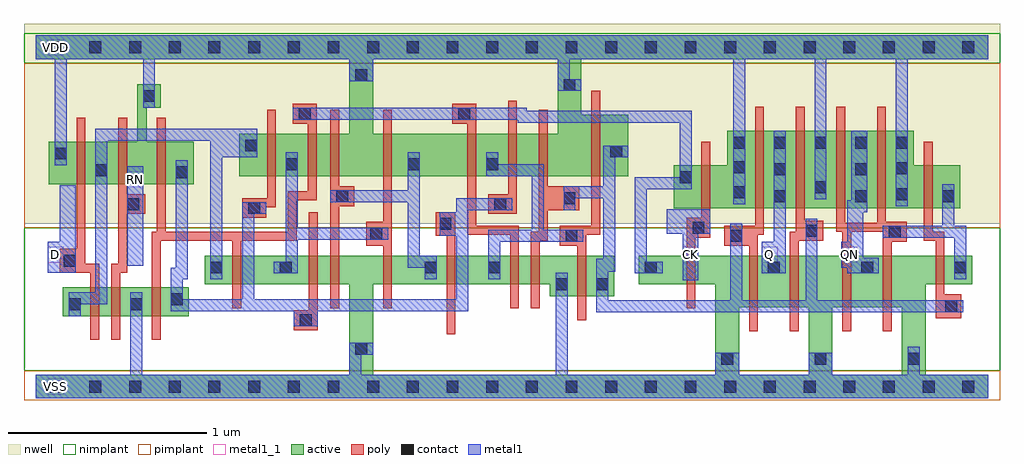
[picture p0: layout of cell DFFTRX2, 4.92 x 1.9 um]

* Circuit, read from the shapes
.subckt DFFTRX2 CK D Q QN RN VDD VSS
M1 n1 D n2 VSS nfet w=0.145u l=0.045u
M2 VSS RN n1 VSS nfet w=0.145u l=0.045u
M3 n3 n4 VSS VSS nfet w=0.145u l=0.045u
M4 n5 n4 n2 VSS nfet w=0.145u l=0.045u
M5 n6 n3 n5 VSS nfet w=0.145u l=0.045u
M6 VSS n7 n6 VSS nfet w=0.145u l=0.045u
M7 n7 n5 VSS VSS nfet w=0.145u l=0.045u
M8 n8 n3 n7 VSS nfet w=0.145u l=0.045u
M9 n9 n4 n8 VSS nfet w=0.145u l=0.045u
M10 VSS n10 n9 VSS nfet w=0.145u l=0.045u
M11 n10 n8 VSS VSS nfet w=0.205u l=0.045u
M12 VSS CK n4 VSS nfet w=0.145u l=0.045u
M13 Q n10 VSS VSS nfet w=0.26u l=0.045u m=2
M14 QN n11 VSS VSS nfet w=0.26u l=0.045u m=2
M15 n11 n10 VSS VSS nfet w=0.145u l=0.045u
M16 n2 D VDD VDD pfet w=0.215u l=0.045u
M17 VDD RN n2 VDD pfet w=0.215u l=0.045u
M18 n3 n4 VDD VDD pfet w=0.215u l=0.045u
M19 n5 n3 n2 VDD pfet w=0.215u l=0.045u
M20 n12 n4 n5 VDD pfet w=0.215u l=0.045u
M21 VDD n7 n12 VDD pfet w=0.215u l=0.045u
M22 n7 n5 VDD VDD pfet w=0.215u l=0.045u
M23 n8 n4 n7 VDD pfet w=0.215u l=0.045u
M24 n13 n3 n8 VDD pfet w=0.215u l=0.045u
M25 VDD n10 n13 VDD pfet w=0.215u l=0.045u
M26 n10 n8 VDD VDD pfet w=0.31u l=0.045u
M27 VDD CK n4 VDD pfet w=0.215u l=0.045u
M28 Q n10 VDD VDD pfet w=0.39u l=0.045u m=2
M29 QN n11 VDD VDD pfet w=0.39u l=0.045u m=2
M30 n11 n10 VDD VDD pfet w=0.215u l=0.045u
.ends

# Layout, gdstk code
import gdstk
lib = gdstk.Library(unit=1e-6, precision=5e-10)
def R(c, l, rs):  # rectangles x0, y0, x1, y1
    for r in rs: c.add(gdstk.rectangle(r[:2], r[2:], *l))
def A(c, l, x, y, w, h, nx, ny, dx, dy):  # array of equal rectangles
    R(c, l, [(x+i*dx, y+j*dy, x+i*dx+w, y+j*dy+h) for i in range(nx) for j in range(ny)])
def P(c, l, *ps):  # polygons
    for p in ps: c.add(gdstk.Polygon(p, *l))
active = (1, 0)
nwell = (2, 0)
poly = (3, 0)
nimplant = (4, 0)
pimplant = (5, 0)
contact = (6, 0)
metal1 = (7, 0)
metal1_1 = (7, 1)

dfftrx2 = lib.new_cell('DFFTRX2')
R(dfftrx2, active, [(0.135,0.355,0.77,0.5)])
P(dfftrx2, active, [(0,1.77),(4.8,1.77),(4.8,1.65),(2.75,1.65),(2.75,1.37),(2.985,1.37),(2.985,1.06),(1.025,1.06),(1.025,1.275),(1.58,1.275),(1.58,1.65),(1.7,1.65),(1.7,1.275),(2.63,1.275),(2.63,1.65),(0,1.65)],
  [(0.51,1.525),(0.63,1.525),(0.63,1.405),(0.56,1.405),(0.56,1.235),(0.795,1.235),(0.795,1.02),(0.065,1.02),(0.065,1.235),(0.51,1.235)],
  [(3.485,1.29),(4.425,1.29),(4.425,1.115),(4.66,1.115),(4.66,0.9),(3.215,0.9),(3.215,1.115),(3.485,1.115)],
  [(0.85,0.66),(2.915,0.66),(2.915,0.455),(2.59,0.455),(2.59,0.515),(1.7,0.515),(1.7,0.06),(3.425,0.06),(3.425,0.4),(3.545,0.4),(3.545,0.06),(3.895,0.06),(3.895,0.4),(4.015,0.4),(4.015,0.06),(4.365,0.06),(4.365,0.4),(3.425,0.4),(3.425,0.515),(3.04,0.515),(3.04,0.66),(4.72,0.66),(4.72,0.515),(4.485,0.515),(4.485,0.06),(4.8,0.06),(4.8,-0.06),(0,-0.06),(0,0.06),(1.58,0.06),(1.58,0.515),(0.85,0.515)])
R(dfftrx2, nwell, [(-0.06,0.82,4.86,1.83)])
P(dfftrx2, poly, [(0.61,1.355),(0.655,1.355),(0.655,0.78),(1.27,0.78),(1.27,0.985),(1.37,0.985),(1.37,1.325),(1.295,1.325),(1.295,1.425),(1.415,1.425),(1.415,0.94),(1.315,0.94),(1.315,0.735),(1.035,0.735),(1.035,0.395),(0.99,0.395),(0.99,0.735),(0.63,0.735),(0.63,0.235),(0.585,0.235),(0.585,0.78),(0.61,0.78)],
  [(0.205,1.355),(0.25,1.355),(0.25,0.62),(0.32,0.62),(0.32,0.235),(0.275,0.235),(0.275,0.575),(0.12,0.575),(0.12,0.695),(0.205,0.695)],
  [(0.415,1.355),(0.46,1.355),(0.46,0.97),(0.55,0.97),(0.55,0.87),(0.46,0.87),(0.46,0.575),(0.425,0.575),(0.425,0.235),(0.38,0.235),(0.38,0.62),(0.415,0.62)],
  [(1.165,1.395),(1.21,1.395),(1.21,0.905),(1.16,0.905),(1.16,0.85),(1.04,0.85),(1.04,0.95),(1.165,0.95)],
  [(1.485,1.395),(1.53,1.395),(1.53,1.01),(1.605,1.01),(1.605,0.91),(1.53,0.91),(1.53,0.395),(1.485,0.395)],
  [(2.1,1.425),(2.22,1.425),(2.22,0.81),(2.435,0.81),(2.435,0.395),(2.39,0.395),(2.39,0.765),(2.175,0.765),(2.175,1.325),(2.1,1.325)],
  [(1.75,1.395),(1.795,1.395),(1.795,0.395),(1.75,0.395),(1.75,0.71),(1.665,0.71),(1.665,0.83),(1.75,0.83)],
  [(2.38,1.44),(2.425,1.44),(2.425,0.87),(2.28,0.87),(2.28,0.97),(2.38,0.97)],
  [(2.535,1.395),(2.58,1.395),(2.58,1.01),(2.74,1.01),(2.74,0.89),(2.58,0.89),(2.58,0.735),(2.54,0.735),(2.54,0.395),(2.495,0.395),(2.495,0.78),(2.535,0.78)],
  [(2.8,1.49),(2.845,1.49),(2.845,0.765),(2.775,0.765),(2.775,0.335),(2.73,0.335),(2.73,0.71),(2.64,0.71),(2.64,0.81),(2.8,0.81)],
  [(2.015,0.88),(2.115,0.88),(2.115,0.265),(2.07,0.265),(2.07,0.76),(2.015,0.76)],
  [(3.625,1.41),(3.67,1.41),(3.67,0.765),(3.64,0.765),(3.64,0.28),(3.595,0.28),(3.595,0.71),(3.47,0.71),(3.47,0.81),(3.625,0.81)],
  [(3.83,1.41),(3.875,1.41),(3.875,0.835),(3.97,0.835),(3.97,0.735),(3.845,0.735),(3.845,0.28),(3.8,0.28),(3.8,0.78),(3.83,0.78)],
  [(4.035,1.41),(4.08,1.41),(4.08,0.825),(4.24,0.825),(4.24,1.41),(4.285,1.41),(4.285,0.83),(4.39,0.83),(4.39,0.73),(4.315,0.73),(4.315,0.28),(4.27,0.28),(4.27,0.78),(4.11,0.78),(4.11,0.28),(4.065,0.28),(4.065,0.78),(4.035,0.78)],
  [(3.355,1.235),(3.4,1.235),(3.4,0.75),(3.325,0.75),(3.325,0.395),(3.28,0.395),(3.28,0.85),(3.355,0.85)],
  [(4.475,1.235),(4.52,1.235),(4.52,0.78),(4.58,0.78),(4.58,0.465),(4.665,0.465),(4.665,0.345),(4.535,0.345),(4.535,0.735),(4.475,0.735)],
  [(1.375,0.88),(1.42,0.88),(1.42,0.285),(1.3,0.285),(1.3,0.385),(1.375,0.385)])
R(dfftrx2, nimplant, [(-0.06,0.08,4.86,0.8), (-0.06,1.63,4.86,1.78)])
R(dfftrx2, pimplant, [(-0.06,-0.07,4.86,0.08), (-0.06,0.8,4.86,1.63)])
A(dfftrx2, contact, 0.07, -0.03, 0.06, 0.06, 24, 2, 0.2, 1.71)
A(dfftrx2, contact, 3.455, 0.11, 0.06, 0.06, 3, 1, 0.47, 0)
A(dfftrx2, contact, 3.69, 0.57, 0.06, 0.06, 3, 1, 0.47, 0)
A(dfftrx2, contact, 3.515, 1.2, 0.06, 0.06, 5, 1, 0.205, 0)
R(dfftrx2, contact, [(1.61,0.16,1.67,0.22), (1.33,0.305,1.39,0.365), (4.585,0.375,4.645,0.435), (0.165,0.385,0.225,0.445), (0.475,0.385,0.535,0.445), (0.68,0.41,0.74,0.47), (2.62,0.485,2.68,0.545), (2.825,0.485,2.885,0.545), (0.88,0.57,0.94,0.63), (1.23,0.57,1.29,0.63), (1.96,0.57,2.02,0.63), (2.28,0.57,2.34,0.63), (3.07,0.57,3.13,0.63), (0.14,0.605,0.2,0.665), (2.67,0.73,2.73,0.79), (3.5,0.73,3.56,0.79), (1.685,0.74,1.745,0.8), (4.3,0.75,4.36,0.81), (3.88,0.755,3.94,0.815), (3.31,0.77,3.37,0.83), (2.035,0.79,2.095,0.85), (1.07,0.87,1.13,0.93), (0.46,0.89,0.52,0.95), (2.31,0.89,2.37,0.95), (2.66,0.92,2.72,0.98), (1.515,0.93,1.575,0.99), (3.72,0.93,3.78,0.99), (4.13,0.93,4.19,0.99), (4.57,0.93,4.63,0.99), (4.335,0.94,4.395,1), (3.515,0.95,3.575,1.01), (3.925,0.975,3.985,1.035), (3.245,1.025,3.305,1.085), (0.705,1.05,0.765,1.11), (0.3,1.06,0.36,1.12), (3.72,1.065,3.78,1.125), (4.13,1.065,4.19,1.125), (4.335,1.07,4.395,1.13), (3.515,1.075,3.575,1.135), (1.26,1.09,1.32,1.15), (1.875,1.09,1.935,1.15), (2.27,1.09,2.33,1.15), (0.095,1.145,0.155,1.205), (2.895,1.155,2.955,1.215), (1.055,1.185,1.115,1.245), (1.325,1.345,1.385,1.405), (2.13,1.345,2.19,1.405), (0.54,1.435,0.6,1.495), (2.66,1.49,2.72,1.55), (1.61,1.54,1.67,1.6)])
R(dfftrx2, metal1, [(0.46,0.61,0.54,1.11)])
P(dfftrx2, metal1, [(0,1.77),(4.8,1.77),(4.8,1.65),(4.395,1.65),(4.395,0.91),(4.335,0.91),(4.335,1.65),(3.985,1.65),(3.985,0.945),(3.925,0.945),(3.925,1.65),(3.575,1.65),(3.575,0.92),(3.515,0.92),(3.515,1.65),(2.69,1.65),(2.69,1.55),(2.75,1.55),(2.75,1.49),(2.63,1.49),(2.63,1.65),(1.7,1.65),(1.7,1.54),(1.58,1.54),(1.58,1.65),(0.6,1.65),(0.6,1.405),(0.54,1.405),(0.54,1.65),(0.155,1.65),(0.155,1.115),(0.095,1.115),(0.095,1.65),(0,1.65)],
  [(1.295,1.405),(2.475,1.405),(2.475,1.39),(3.305,1.39),(3.305,0.995),(3.08,0.995),(3.08,0.63),(3.16,0.63),(3.16,0.57),(3.02,0.57),(3.02,1.055),(3.245,1.055),(3.245,1.33),(2.43,1.33),(2.43,1.345),(1.295,1.345)],
  [(0.3,1.3),(1.115,1.3),(1.115,1.155),(0.94,1.155),(0.94,0.54),(0.88,0.54),(0.88,1.24),(0.36,1.24),(0.36,0.415),(0.225,0.415),(0.225,0.355),(0.165,0.355),(0.165,0.475),(0.3,0.475)],
  [(1.26,1.18),(1.32,1.18),(1.32,0.8),(1.775,0.8),(1.775,0.74),(1.32,0.74),(1.32,0.57),(1.2,0.57),(1.2,0.63),(1.26,0.63)],
  [(1.875,1.18),(1.935,1.18),(1.935,0.66),(2.02,0.66),(2.02,0.54),(1.96,0.54),(1.96,0.6),(1.875,0.6),(1.875,0.93),(1.485,0.93),(1.485,0.99),(1.875,0.99)],
  [(0.705,1.14),(0.765,1.14),(0.765,0.54),(0.74,0.54),(0.74,0.44),(1.04,0.44),(1.04,0.93),(1.16,0.93),(1.16,0.87),(1.1,0.87),(1.1,0.44),(2.12,0.44),(2.12,0.76),(2.035,0.76),(2.035,0.88),(2.12,0.88),(2.12,0.95),(2.4,0.95),(2.4,0.89),(2.18,0.89),(2.18,0.38),(1.42,0.38),(1.42,0.305),(1.3,0.305),(1.3,0.38),(0.68,0.38),(0.68,0.6),(0.705,0.6)],
  [(0.12,1.015),(0.2,1.015),(0.2,0.575),(0.06,0.575),(0.06,0.73),(0.12,0.73)],
  [(0.475,0.475),(0.535,0.475),(0.535,0.06),(1.58,0.06),(1.58,0.22),(1.7,0.22),(1.7,0.16),(1.64,0.16),(1.64,0.06),(2.62,0.06),(2.62,0.575),(2.68,0.575),(2.68,0.06),(3.425,0.06),(3.425,0.17),(3.545,0.17),(3.545,0.06),(3.895,0.06),(3.895,0.17),(4.015,0.17),(4.015,0.06),(4.395,0.06),(4.395,0.2),(4.455,0.2),(4.455,0.06),(4.8,0.06),(4.8,-0.06),(0,-0.06),(0,0.06),(0.475,0.06)],
  [(2.27,1.18),(2.33,1.18),(2.33,1.12),(2.56,1.12),(2.56,0.79),(2.76,0.79),(2.76,0.73),(2.34,0.73),(2.34,0.54),(2.28,0.54),(2.28,0.79),(2.5,0.79),(2.5,1.06),(2.27,1.06)],
  [(2.86,1.215),(2.985,1.215),(2.985,1.155),(2.92,1.155),(2.92,0.58),(2.885,0.58),(2.885,0.435),(3.5,0.435),(3.5,0.82),(3.56,0.82),(3.56,0.435),(3.88,0.435),(3.88,0.845),(3.94,0.845),(3.94,0.435),(4.675,0.435),(4.675,0.375),(2.825,0.375),(2.825,0.645),(2.86,0.645),(2.86,0.95),(2.72,0.95),(2.72,0.89),(2.66,0.89),(2.66,1.01),(2.86,1.01)],
  [(3.72,1.29),(3.78,1.29),(3.78,0.57),(3.66,0.57),(3.66,0.73),(3.72,0.73)],
  [(4.11,1.29),(4.19,1.29),(4.19,0.88),(4.17,0.88),(4.17,0.65),(4.25,0.65),(4.25,0.57),(4.09,0.57),(4.09,0.6),(4.06,0.6),(4.06,0.73),(4.09,0.73),(4.09,0.94),(4.11,0.94)],
  [(3.18,0.895),(3.4,0.895),(3.4,0.77),(3.34,0.77),(3.34,0.535),(3.26,0.535),(3.26,0.77),(3.18,0.77)],
  [(4.57,1.02),(4.63,1.02),(4.63,0.81),(4.69,0.81),(4.69,0.54),(4.63,0.54),(4.63,0.75),(4.27,0.75),(4.27,0.81),(4.57,0.81)])
A(dfftrx2, metal1_1, 3.26, 0.625, 0.08, 0.08, 3, 1, 0.4, 0)
R(dfftrx2, metal1_1, [(0.06,-0.04,0.14,0.04), (0.06,0.625,0.14,0.705), (0.46,1.005,0.54,1.085), (0.06,1.67,0.14,1.75)])
dfftrx2.add(gdstk.Label('QN', (4.1,0.665), layer=7, texttype=1))
dfftrx2.add(gdstk.Label('Q', (3.7,0.665), layer=7, texttype=1))
dfftrx2.add(gdstk.Label('CK', (3.3,0.665), layer=7, texttype=1))
dfftrx2.add(gdstk.Label('RN', (0.5,1.045), layer=7, texttype=1))
dfftrx2.add(gdstk.Label('D', (0.1,0.665), layer=7, texttype=1))
dfftrx2.add(gdstk.Label('VDD', (0.1,1.71), layer=7, texttype=1))
dfftrx2.add(gdstk.Label('VSS', (0.1,0), layer=7, texttype=1))
dfftrx2.add(gdstk.Label('DFFTRX2', (0,0), layer=63, texttype=0))

lib.write_gds('DFFTRX2.gds')
